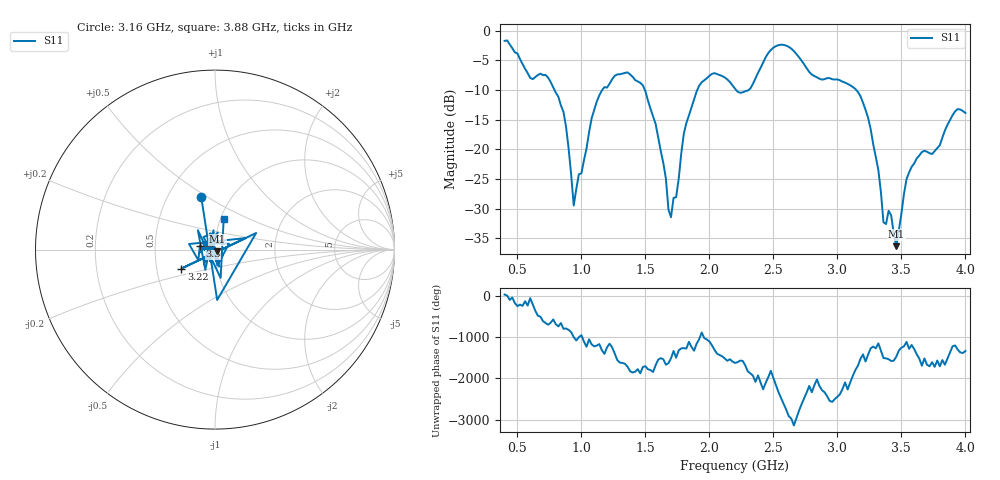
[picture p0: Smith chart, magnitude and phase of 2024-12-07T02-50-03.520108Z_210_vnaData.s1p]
!Created with skrf (http://scikit-rf.org).
# Hz S RI R 50.0
!freq ReS11 ImS11
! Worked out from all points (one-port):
!   181 points, 400 MHz to 4 GHz, reference 50 ohm
!   lowest |S11| = -36.3 dB at 3.46 GHz (marker M1), VSWR 1.03, Z = 51.3 - j0.889 ohm
!   |S11| at or under -10 dB: 790.1 MHz to 1.163 GHz (372.6 MHz wide, 38.2 % of centre); 1.496 GHz to 1.905 GHz (409.2 MHz wide, 24.1 % of centre); 3.147 GHz to end of sweep (the widest 3 of 4)
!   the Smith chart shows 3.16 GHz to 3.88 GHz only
!   S11 on the Smith chart (normalised r, x): 3.16 GHz: 0.73, +0.47; 3.22 GHz: 0.67, -0.15; 3.3 GHz: 0.84, +0.03; 3.88 GHz: 1.04, +0.36
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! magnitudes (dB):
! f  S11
! 400 MHz  -1.7
! 600 MHz  -8.0
! 740 MHz  -7.9
! 860 MHz  -13.7
! 940 MHz  -29.5
! 1.12 GHz  -12.0
! 1.3 GHz  -7.3
! 1.5 GHz  -10.2
! 1.58 GHz  -15.7
! 1.7 GHz  -31.5
! 1.76 GHz  -25.0
! 1.8 GHz  -17.4
! 1.92 GHz  -9.3
! 2.04 GHz  -7.2
! 2.2 GHz  -9.8
! 2.32 GHz  -9.7
! 2.5 GHz  -2.9
! 2.66 GHz  -3.4
! 3.1 GHz  -9.2
! 3.16 GHz  -10.3
! 3.22 GHz  -13.4
! 3.3 GHz  -21.3
! 3.36 GHz  -32.3
! 3.42 GHz  -31.1
! 3.46 GHz  -36.3
! 3.56 GHz  -23.9
! 3.88 GHz  -15.1
! 4 GHz  -13.9
